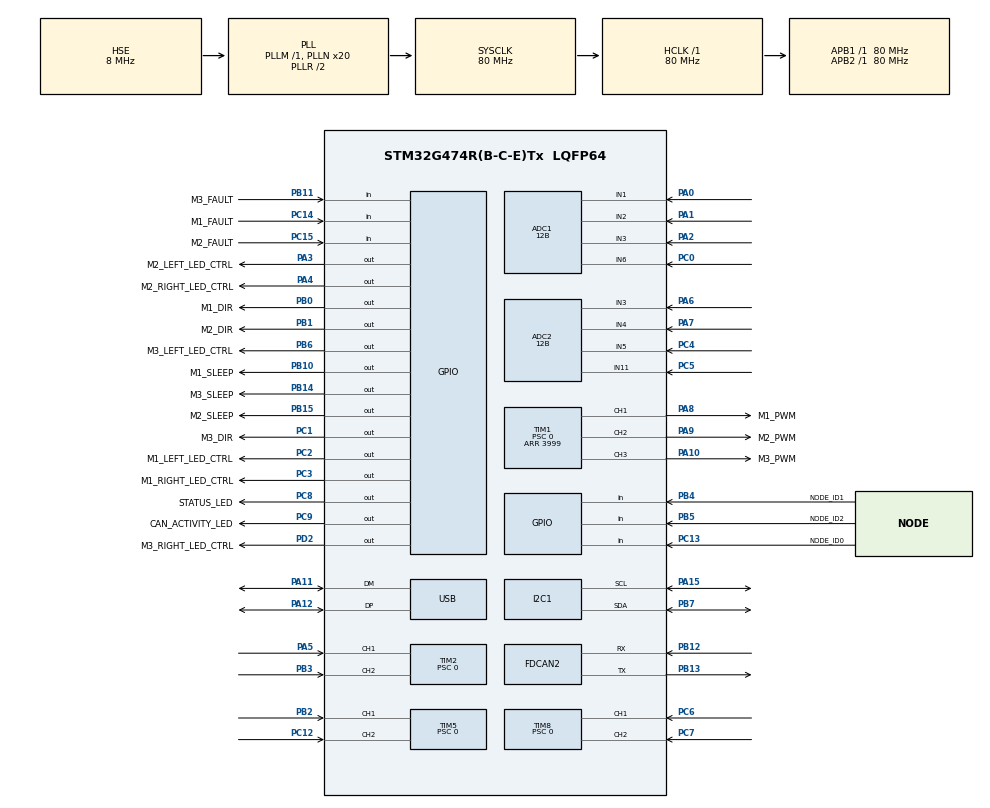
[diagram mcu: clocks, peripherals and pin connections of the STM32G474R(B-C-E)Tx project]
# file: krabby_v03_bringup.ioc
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ADC1.Channel-0\#ChannelRegularConversion=ADC_CHANNEL_1
ADC1.Channel-1\#ChannelRegularConversion=ADC_CHANNEL_2
ADC1.Channel-2\#ChannelRegularConversion=ADC_CHANNEL_3
ADC1.Channel-3\#ChannelRegularConversion=ADC_CHANNEL_6
ADC1.ClockPrescaler=ADC_CLOCK_SYNC_PCLK_DIV2
ADC1.ContinuousConvMode=DISABLE
ADC1.DataAlign=ADC_DATAALIGN_RIGHT
ADC1.ExternalTrigConv=ADC_SOFTWARE_START
ADC1.LowPowerAutoWait=ENABLE
ADC1.NbrOfConversion=4
ADC1.NbrOfConversionFlag=1
ADC1.Overrun=ADC_OVR_DATA_PRESERVED
ADC1.Rank-0\#ChannelRegularConversion=1
ADC1.Rank-1\#ChannelRegularConversion=2
ADC1.Rank-2\#ChannelRegularConversion=3
ADC1.Rank-3\#ChannelRegularConversion=4
ADC1.Resolution=ADC_RESOLUTION_12B
ADC1.SamplingTime-0\#ChannelRegularConversion=ADC_SAMPLETIME_92CYCLES_5
ADC1.SamplingTime-1\#ChannelRegularConversion=ADC_SAMPLETIME_92CYCLES_5
ADC1.SamplingTime-2\#ChannelRegularConversion=ADC_SAMPLETIME_92CYCLES_5
ADC1.SamplingTime-3\#ChannelRegularConversion=ADC_SAMPLETIME_92CYCLES_5
ADC1.ScanConvMode=ADC_SCAN_ENABLE
ADC1.master=1
ADC2.Channel-0\#ChannelRegularConversion=ADC_CHANNEL_3
ADC2.Channel-1\#ChannelRegularConversion=ADC_CHANNEL_4
ADC2.Channel-2\#ChannelRegularConversion=ADC_CHANNEL_5
ADC2.Channel-3\#ChannelRegularConversion=ADC_CHANNEL_11
ADC2.ClockPrescaler=ADC_CLOCK_SYNC_PCLK_DIV2
ADC2.ContinuousConvMode=DISABLE
ADC2.DataAlign=ADC_DATAALIGN_RIGHT
ADC2.ExternalTrigConv=ADC_SOFTWARE_START
ADC2.LowPowerAutoWait=ENABLE
ADC2.NbrOfConversion=4
ADC2.NbrOfConversionFlag=1
ADC2.Overrun=ADC_OVR_DATA_PRESERVED
ADC2.Rank-0\#ChannelRegularConversion=1
ADC2.Rank-1\#ChannelRegularConversion=2
ADC2.Rank-2\#ChannelRegularConversion=3
ADC2.Rank-3\#ChannelRegularConversion=4
ADC2.Resolution=ADC_RESOLUTION_12B
ADC2.SamplingTime-0\#ChannelRegularConversion=ADC_SAMPLETIME_92CYCLES_5
ADC2.SamplingTime-1\#ChannelRegularConversion=ADC_SAMPLETIME_92CYCLES_5
ADC2.SamplingTime-2\#ChannelRegularConversion=ADC_SAMPLETIME_92CYCLES_5
ADC2.SamplingTime-3\#ChannelRegularConversion=ADC_SAMPLETIME_92CYCLES_5
ADC2.ScanConvMode=ADC_SCAN_ENABLE
ADC2.master=1
FDCAN2.AutoRetransmission=ENABLE
FDCAN2.CalculateBaudRateNominal=1000000
FDCAN2.CalculateTimeBitNominal=1000
FDCAN2.CalculateTimeQuantumNominal=62.5
FDCAN2.DataPrescaler=1
FDCAN2.DataSyncJumpWidth=1
FDCAN2.DataTimeSeg1=13
FDCAN2.DataTimeSeg2=2
FDCAN2.ExtFiltersNbr=0
FDCAN2.FrameFormat=FDCAN_FRAME_FD_BRS
FDCAN2.Mode=FDCAN_MODE_NORMAL
FDCAN2.NominalPrescaler=5
FDCAN2.NominalSyncJumpWidth=1
FDCAN2.NominalTimeSeg1=13
FDCAN2.NominalTimeSeg2=2
FDCAN2.ProtocolException=DISABLE
FDCAN2.StdFiltersNbr=0
FDCAN2.TransmitPause=DISABLE
FDCAN2.TxFifoQueueMode=FDCAN_TX_FIFO_OPERATION
I2C1.GeneralCallMode=I2C_GENERALCALL_DISABLE
I2C1.I2C_FMPlus=I2C_FMPLUS_DISABLE
I2C1.NoStretchMode=I2C_NOSTRETCH_DISABLE
I2C1.Timing=0x10D19CE4
Mcu.Family=STM32G4
Mcu.Name=STM32G474R(B-C-E)Tx
Mcu.Package=LQFP64
NVIC.FDCAN2_IT0_IRQn=true\:0\:0\:false\:false\:true\:true\:true\:true
NVIC.PriorityGroup=NVIC_PRIORITYGROUP_4
NVIC.USB_LP_IRQn=true\:0\:0\:false\:false\:true\:false\:true\:true
PA0.Mode=IN1-Single-Ended
PA0.Signal=ADC1_IN1
PA1.Mode=IN2-Single-Ended
PA1.Signal=ADC1_IN2
PA10.GPIO_Label=M3_PWM
PA10.GPIO_PuPd=GPIO_PULLDOWN
PA10.GPIO_Speed=GPIO_SPEED_FREQ_LOW
PA10.Signal=S_TIM1_CH3
PA11.Mode=Device
PA11.Signal=USB_DM
PA12.Mode=Device
PA12.Signal=USB_DP
PA13.Mode=Serial_Wire
PA13.Signal=SYS_JTMS-SWDIO
PA14.Mode=Serial_Wire
PA14.Signal=SYS_JTCK-SWCLK
PA15.Mode=I2C
PA15.Signal=I2C1_SCL
PA2.Mode=IN3-Single-Ended
PA2.Signal=ADC1_IN3
PA3.GPIO_Label=M2_LEFT_LED_CTRL
PA3.GPIO_ModeDefaultOutputPP=GPIO_MODE_OUTPUT_PP
PA3.GPIO_OutputLevel=GPIO_PIN_RESET
PA3.GPIO_PuPd=GPIO_NOPULL
PA3.GPIO_Speed=GPIO_SPEED_FREQ_LOW
PA3.Signal=GPIO_Output
PA4.GPIO_Label=M2_RIGHT_LED_CTRL
PA4.GPIO_ModeDefaultOutputPP=GPIO_MODE_OUTPUT_PP
PA4.GPIO_OutputLevel=GPIO_PIN_RESET
PA4.GPIO_PuPd=GPIO_NOPULL
PA4.GPIO_Speed=GPIO_SPEED_FREQ_LOW
PA4.Signal=GPIO_Output
PA5.Signal=S_TIM2_CH1
PA6.Mode=IN3-Single-Ended
PA6.Signal=ADC2_IN3
PA7.Mode=IN4-Single-Ended
PA7.Signal=ADC2_IN4
PA8.GPIO_Label=M1_PWM
PA8.GPIO_PuPd=GPIO_PULLDOWN
PA8.GPIO_Speed=GPIO_SPEED_FREQ_LOW
PA8.Signal=S_TIM1_CH1
PA9.GPIO_Label=M2_PWM
PA9.GPIO_PuPd=GPIO_PULLDOWN
PA9.GPIO_Speed=GPIO_SPEED_FREQ_LOW
PA9.Signal=S_TIM1_CH2
PB0.GPIO_Label=M1_DIR
PB0.GPIO_ModeDefaultOutputPP=GPIO_MODE_OUTPUT_PP
PB0.GPIO_OutputLevel=GPIO_PIN_RESET
PB0.GPIO_PuPd=GPIO_NOPULL
PB0.GPIO_Speed=GPIO_SPEED_FREQ_LOW
PB0.Signal=GPIO_Output
PB1.GPIO_Label=M2_DIR
PB1.GPIO_ModeDefaultOutputPP=GPIO_MODE_OUTPUT_PP
PB1.GPIO_OutputLevel=GPIO_PIN_RESET
PB1.GPIO_PuPd=GPIO_NOPULL
PB1.GPIO_Speed=GPIO_SPEED_FREQ_LOW
PB1.Signal=GPIO_Output
PB10.GPIO_Label=M1_SLEEP
PB10.GPIO_ModeDefaultOutputPP=GPIO_MODE_OUTPUT_PP
PB10.GPIO_OutputLevel=GPIO_PIN_RESET
PB10.GPIO_PuPd=GPIO_NOPULL
PB10.GPIO_Speed=GPIO_SPEED_FREQ_LOW
PB10.Signal=GPIO_Output
PB11.GPIO_Label=M3_FAULT
PB11.GPIO_PuPd=GPIO_NOPULL
PB11.Signal=GPIO_Input
PB12.Mode=FDCAN_Activate
PB12.Signal=FDCAN2_RX
PB13.Mode=FDCAN_Activate
PB13.Signal=FDCAN2_TX
PB14.GPIO_Label=M3_SLEEP
PB14.GPIO_ModeDefaultOutputPP=GPIO_MODE_OUTPUT_PP
PB14.GPIO_OutputLevel=GPIO_PIN_RESET
PB14.GPIO_PuPd=GPIO_NOPULL
PB14.GPIO_Speed=GPIO_SPEED_FREQ_LOW
PB14.Signal=GPIO_Output
PB15.GPIO_Label=M2_SLEEP
PB15.GPIO_ModeDefaultOutputPP=GPIO_MODE_OUTPUT_PP
PB15.GPIO_OutputLevel=GPIO_PIN_RESET
PB15.GPIO_PuPd=GPIO_NOPULL
PB15.GPIO_Speed=GPIO_SPEED_FREQ_LOW
PB15.Signal=GPIO_Output
PB2.Signal=S_TIM5_CH1
PB3.Signal=S_TIM2_CH2
PB4.GPIO_Label=NODE_ID1
PB4.GPIO_PuPd=GPIO_NOPULL
PB4.Signal=GPIO_Input
PB5.GPIO_Label=NODE_ID2
PB5.GPIO_PuPd=GPIO_NOPULL
PB5.Signal=GPIO_Input
PB6.GPIO_Label=M3_LEFT_LED_CTRL
PB6.GPIO_ModeDefaultOutputPP=GPIO_MODE_OUTPUT_PP
PB6.GPIO_OutputLevel=GPIO_PIN_RESET
PB6.GPIO_PuPd=GPIO_NOPULL
PB6.GPIO_Speed=GPIO_SPEED_FREQ_LOW
PB6.Signal=GPIO_Output
PB7.Mode=I2C
PB7.Signal=I2C1_SDA
PC0.Mode=IN6-Single-Ended
PC0.Signal=ADC1_IN6
PC1.GPIO_Label=M3_DIR
PC1.GPIO_ModeDefaultOutputPP=GPIO_MODE_OUTPUT_PP
PC1.GPIO_OutputLevel=GPIO_PIN_RESET
PC1.GPIO_PuPd=GPIO_NOPULL
PC1.GPIO_Speed=GPIO_SPEED_FREQ_LOW
PC1.Signal=GPIO_Output
PC12.Signal=S_TIM5_CH2
PC13.GPIO_Label=NODE_ID0
PC13.GPIO_PuPd=GPIO_NOPULL
PC13.Signal=GPIO_Input
PC14-OSC32_IN.GPIO_Label=M1_FAULT
PC14-OSC32_IN.GPIO_PuPd=GPIO_NOPULL
PC14-OSC32_IN.Signal=GPIO_Input
PC15-OSC32_OUT.GPIO_Label=M2_FAULT
PC15-OSC32_OUT.GPIO_PuPd=GPIO_NOPULL
PC15-OSC32_OUT.Signal=GPIO_Input
PC2.GPIO_Label=M1_LEFT_LED_CTRL
PC2.GPIO_ModeDefaultOutputPP=GPIO_MODE_OUTPUT_PP
PC2.GPIO_OutputLevel=GPIO_PIN_RESET
PC2.GPIO_PuPd=GPIO_NOPULL
PC2.GPIO_Speed=GPIO_SPEED_FREQ_LOW
PC2.Signal=GPIO_Output
PC3.GPIO_Label=M1_RIGHT_LED_CTRL
PC3.GPIO_ModeDefaultOutputPP=GPIO_MODE_OUTPUT_PP
PC3.GPIO_OutputLevel=GPIO_PIN_RESET
PC3.GPIO_PuPd=GPIO_NOPULL
PC3.GPIO_Speed=GPIO_SPEED_FREQ_LOW
PC3.Signal=GPIO_Output
PC4.Mode=IN5-Single-Ended
PC4.Signal=ADC2_IN5
PC5.Mode=IN11-Single-Ended
PC5.Signal=ADC2_IN11
PC6.Signal=S_TIM8_CH1
PC7.Signal=S_TIM8_CH2
PC8.GPIO_Label=STATUS_LED
PC8.GPIO_ModeDefaultOutputPP=GPIO_MODE_OUTPUT_PP
PC8.GPIO_OutputLevel=GPIO_PIN_RESET
PC8.GPIO_PuPd=GPIO_NOPULL
PC8.GPIO_Speed=GPIO_SPEED_FREQ_LOW
PC8.Signal=GPIO_Output
PC9.GPIO_Label=CAN_ACTIVITY_LED
PC9.GPIO_ModeDefaultOutputPP=GPIO_MODE_OUTPUT_PP
PC9.GPIO_OutputLevel=GPIO_PIN_RESET
PC9.GPIO_PuPd=GPIO_NOPULL
PC9.GPIO_Speed=GPIO_SPEED_FREQ_LOW
PC9.Signal=GPIO_Output
PD2.GPIO_Label=M3_RIGHT_LED_CTRL
PD2.GPIO_ModeDefaultOutputPP=GPIO_MODE_OUTPUT_PP
PD2.GPIO_OutputLevel=GPIO_PIN_RESET
PD2.GPIO_PuPd=GPIO_NOPULL
PD2.GPIO_Speed=GPIO_SPEED_FREQ_LOW
PD2.Signal=GPIO_Output
ProjectManager.HeapSize=0x200
ProjectManager.StackSize=0x800
ProjectManager.TargetToolchain=CMake
RCC.ADC12Freq_Value=80000000
RCC.ADC345Freq_Value=80000000
RCC.AHBFreq_Value=80000000
RCC.APB1Freq_Value=80000000
RCC.APB1TimFreq_Value=80000000
RCC.APB2Freq_Value=80000000
RCC.APB2TimFreq_Value=80000000
RCC.CK48CLockSelection=RCC_USBCLKSOURCE_HSI48
RCC.CortexFreq_Value=80000000
RCC.EXTERNAL_CLOCK_VALUE=12288000
RCC.FDCANClockSelection=RCC_FDCANCLKSOURCE_PCLK1
RCC.HCLKFreq_Value=80000000
RCC.HSEState=RCC_HSE_ON
RCC.HSE_VALUE=8000000
RCC.HSI48_VALUE=48000000
RCC.HSI_VALUE=16000000
RCC.LSE_VALUE=32768
RCC.PLLN=20
RCC.PLLR=RCC_PLLR_DIV2
RCC.PLLSourceVirtual=RCC_PLLSOURCE_HSE
RCC.SYSCLKFreq_VALUE=80000000
RCC.SYSCLKSource=RCC_SYSCLKSOURCE_PLLCLK
RCC.USBClockSelection=RCC_USBCLKSOURCE_HSI48
RCC.USBFreq_Value=48000000
RCC.VCOOutputFreq_Value=160000000
SH.S_TIM1_CH1.0=TIM1_CH1,PWM Generation1 CH1
SH.S_TIM1_CH2.0=TIM1_CH2,PWM Generation2 CH2
SH.S_TIM1_CH3.0=TIM1_CH3,PWM Generation3 CH3
SH.S_TIM2_CH1.0=TIM2_CH1,Encoder_Interface
SH.S_TIM2_CH2.0=TIM2_CH2,Encoder_Interface
SH.S_TIM5_CH1.0=TIM5_CH1,Encoder_Interface
SH.S_TIM5_CH2.0=TIM5_CH2,Encoder_Interface
SH.S_TIM8_CH1.0=TIM8_CH1,Encoder_Interface
SH.S_TIM8_CH2.0=TIM8_CH2,Encoder_Interface
TIM1.AutoReloadPreload=TIM_AUTORELOAD_PRELOAD_DISABLE
TIM1.AutomaticOutput=TIM_AUTOMATICOUTPUT_DISABLE
TIM1.Channel-PWM\ Generation1\ CH1=TIM_CHANNEL_1
TIM1.Channel-PWM\ Generation2\ CH2=TIM_CHANNEL_2
TIM1.Channel-PWM\ Generation3\ CH3=TIM_CHANNEL_3
TIM1.CounterMode=TIM_COUNTERMODE_UP
TIM1.OCIdleState_1=TIM_OCIDLESTATE_RESET
TIM1.OCIdleState_2=TIM_OCIDLESTATE_RESET
TIM1.OCIdleState_3=TIM_OCIDLESTATE_RESET
TIM1.OCMode_1=TIM_OCMODE_PWM1
TIM1.OCMode_2=TIM_OCMODE_PWM1
TIM1.OCMode_3=TIM_OCMODE_PWM1
TIM1.OCPolarity_1=TIM_OCPOLARITY_HIGH
TIM1.OCPolarity_2=TIM_OCPOLARITY_HIGH
TIM1.OCPolarity_3=TIM_OCPOLARITY_HIGH
TIM1.Period=3999
TIM1.Prescaler=0
TIM1.Pulse_1=0
TIM1.Pulse_2=0
TIM1.Pulse_3=0
TIM1.RepetitionCounter=0
TIM2.CounterMode=TIM_COUNTERMODE_UP
TIM2.EncoderMode=TIM_ENCODERMODE_TI12
TIM2.IC1Filter=0
TIM2.IC1Polarity=TIM_ICPOLARITY_RISING
TIM2.IC1Prescaler=TIM_ICPSC_DIV1
TIM2.IC1Selection=TIM_ICSELECTION_DIRECTTI
TIM2.IC2Filter=0
TIM2.IC2Polarity=TIM_ICPOLARITY_RISING
TIM2.IC2Prescaler=TIM_ICPSC_DIV1
TIM2.IC2Selection=TIM_ICSELECTION_DIRECTTI
TIM2.Period=65535
TIM2.Prescaler=0
TIM5.CounterMode=TIM_COUNTERMODE_UP
TIM5.EncoderMode=TIM_ENCODERMODE_TI12
TIM5.IC1Filter=0
TIM5.IC1Polarity=TIM_ICPOLARITY_RISING
TIM5.IC1Prescaler=TIM_ICPSC_DIV1
TIM5.IC1Selection=TIM_ICSELECTION_DIRECTTI
TIM5.IC2Filter=0
TIM5.IC2Polarity=TIM_ICPOLARITY_RISING
TIM5.IC2Prescaler=TIM_ICPSC_DIV1
TIM5.IC2Selection=TIM_ICSELECTION_DIRECTTI
TIM5.Period=65535
TIM5.Prescaler=0
TIM8.CounterMode=TIM_COUNTERMODE_UP
TIM8.EncoderMode=TIM_ENCODERMODE_TI12
TIM8.IC1Filter=0
TIM8.IC1Polarity=TIM_ICPOLARITY_RISING
TIM8.IC1Prescaler=TIM_ICPSC_DIV1
TIM8.IC1Selection=TIM_ICSELECTION_DIRECTTI
TIM8.IC2Filter=0
TIM8.IC2Polarity=TIM_ICPOLARITY_RISING
TIM8.IC2Prescaler=TIM_ICPSC_DIV1
TIM8.IC2Selection=TIM_ICSELECTION_DIRECTTI
TIM8.Period=65535
TIM8.Prescaler=0
USB.VirtualMode=Device_Only
USB_DEVICE.CLASS_NAME_FS=CDC
USB_DEVICE.VirtualMode=Cdc
USB_DEVICE.VirtualModeFS=Cdc_FS
VP_SYS_VS_DBSignals.Mode=DisableDeadBatterySignals
VP_TIM1_VS_ClockSourceINT.Mode=Internal
VP_USB_DEVICE_VS_USB_DEVICE_CDC_FS.Mode=CDC_FS
board=custom

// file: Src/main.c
/* USER CODE BEGIN Header */
/**
  ******************************************************************************
  * @file           : main.c
  * @brief          : Main program body
  ******************************************************************************
  * @attention
  *
  * Copyright (c) 2026 STMicroelectronics.
  * All rights reserved.
  *
  * This software is licensed under terms that can be found in the LICENSE file
  * in the root directory of this software component.
  * If no LICENSE file comes with this software, it is provided AS-IS.
  *
  ******************************************************************************
  */
/* USER CODE END Header */
#include "main.h"
#include "usb_device.h"

/* USER CODE BEGIN Includes */
#include "usbd_cdc_if.h"
#include <stdio.h>
#include "board.h"
#include "can_bridge.h"
#include "app_boot.h"
#include "app_service.h"
/* USER CODE END Includes */

ADC_HandleTypeDef hadc1;
ADC_HandleTypeDef hadc2;

FDCAN_HandleTypeDef hfdcan2;

I2C_HandleTypeDef hi2c1;

TIM_HandleTypeDef htim1;
TIM_HandleTypeDef htim2;
TIM_HandleTypeDef htim5;
TIM_HandleTypeDef htim8;

void SystemClock_Config(void);
static void MX_GPIO_Init(void);
static void MX_ADC1_Init(void);
static void MX_ADC2_Init(void);
static void MX_I2C1_Init(void);
static void MX_TIM1_Init(void);
static void MX_TIM2_Init(void);
static void MX_TIM5_Init(void);
static void MX_TIM8_Init(void);
static void MX_FDCAN2_Init(void);

int main(void)
{

  /* USER CODE BEGIN 1 */
  SCB->VTOR = KRABBY_APPLICATION_BASE;
#ifndef LOAD_ME_FIRST
  uint32_t led_tick = 0;
#endif

  /* USER CODE END 1 */

  /* MCU Configuration--------------------------------------------------------*/

  /* Reset of all peripherals, Initializes the Flash interface and the Systick. */
  HAL_Init();

  /* Configure the system clock */
  SystemClock_Config();

  /* Initialize all configured peripherals */
  MX_GPIO_Init();
  MX_ADC1_Init();
  MX_ADC2_Init();
  MX_I2C1_Init();
  MX_TIM1_Init();
  MX_TIM2_Init();
  MX_TIM5_Init();
  MX_TIM8_Init();
  MX_FDCAN2_Init();
  MX_USB_Device_Init();
  /* USER CODE BEGIN 2 */
  App_Init();
  CAN_BridgeInit();

  /* USER CODE END 2 */

  /* Infinite loop */
  while (1)
  {

    /* USER CODE BEGIN 3 */

    App_Poll();
    CDC_AppPoll();
#ifndef LOAD_ME_FIRST
    if (!CDC_LED_IsControlled() && (uint32_t)(HAL_GetTick() - led_tick) >= APP_BLINK_MS)
    {
      led_tick = HAL_GetTick();
      Board_LED_Toggle(APP_LED);
    }
#endif

  }
  /* USER CODE END 3 */
}

void SystemClock_Config(void)
{
  RCC_OscInitTypeDef RCC_OscInitStruct = {0};
  RCC_ClkInitTypeDef RCC_ClkInitStruct = {0};

  /** Configure the main internal regulator output voltage
  */
  HAL_PWREx_ControlVoltageScaling(PWR_REGULATOR_VOLTAGE_SCALE1);

  /** Initializes the RCC Oscillators according to the specified parameters
  * in the RCC_OscInitTypeDef structure.
  */
  RCC_OscInitStruct.OscillatorType = RCC_OSCILLATORTYPE_HSI48|RCC_OSCILLATORTYPE_HSE;
  RCC_OscInitStruct.HSEState = RCC_HSE_ON;
  RCC_OscInitStruct.HSI48State = RCC_HSI48_ON;
  RCC_OscInitStruct.PLL.PLLState = RCC_PLL_ON;
  RCC_OscInitStruct.PLL.PLLSource = RCC_PLLSOURCE_HSE;
  RCC_OscInitStruct.PLL.PLLM = RCC_PLLM_DIV1;
  RCC_OscInitStruct.PLL.PLLN = 20;
  RCC_OscInitStruct.PLL.PLLP = RCC_PLLP_DIV2;
  RCC_OscInitStruct.PLL.PLLQ = RCC_PLLQ_DIV2;
  RCC_OscInitStruct.PLL.PLLR = RCC_PLLR_DIV2;
  if (HAL_RCC_OscConfig(&RCC_OscInitStruct) != HAL_OK)
  {
    Error_Handler();
  }

  /** Initializes the CPU, AHB and APB buses clocks
  */
  RCC_ClkInitStruct.ClockType = RCC_CLOCKTYPE_HCLK|RCC_CLOCKTYPE_SYSCLK
                              |RCC_CLOCKTYPE_PCLK1|RCC_CLOCKTYPE_PCLK2;
  RCC_ClkInitStruct.SYSCLKSource = RCC_SYSCLKSOURCE_PLLCLK;
  RCC_ClkInitStruct.AHBCLKDivider = RCC_SYSCLK_DIV1;
  RCC_ClkInitStruct.APB1CLKDivider = RCC_HCLK_DIV1;
  RCC_ClkInitStruct.APB2CLKDivider = RCC_HCLK_DIV1;

  if (HAL_RCC_ClockConfig(&RCC_ClkInitStruct, FLASH_LATENCY_2) != HAL_OK)
  {
    Error_Handler();
  }
}

static void MX_ADC1_Init(void)
{

  ADC_MultiModeTypeDef multimode = {0};
  ADC_ChannelConfTypeDef sConfig = {0};

  /** Common config
  */
  hadc1.Instance = ADC1;
  hadc1.Init.ClockPrescaler = ADC_CLOCK_SYNC_PCLK_DIV2;
  hadc1.Init.Resolution = ADC_RESOLUTION_12B;
  hadc1.Init.DataAlign = ADC_DATAALIGN_RIGHT;
  hadc1.Init.GainCompensation = 0;
  hadc1.Init.ScanConvMode = ADC_SCAN_ENABLE;
  hadc1.Init.EOCSelection = ADC_EOC_SINGLE_CONV;
  hadc1.Init.LowPowerAutoWait = ENABLE;
  hadc1.Init.ContinuousConvMode = DISABLE;
  hadc1.Init.NbrOfConversion = 4;
  hadc1.Init.DiscontinuousConvMode = DISABLE;
  hadc1.Init.ExternalTrigConv = ADC_SOFTWARE_START;
  hadc1.Init.ExternalTrigConvEdge = ADC_EXTERNALTRIGCONVEDGE_NONE;
  hadc1.Init.DMAContinuousRequests = DISABLE;
  hadc1.Init.Overrun = ADC_OVR_DATA_PRESERVED;
  hadc1.Init.OversamplingMode = DISABLE;
  if (HAL_ADC_Init(&hadc1) != HAL_OK)
  {
    Error_Handler();
  }

  /** Configure the ADC multi-mode
  */
  multimode.Mode = ADC_MODE_INDEPENDENT;
  if (HAL_ADCEx_MultiModeConfigChannel(&hadc1, &multimode) != HAL_OK)
  {
    Error_Handler();
  }

  /** Configure Regular Channel
  */
  sConfig.Channel = ADC_CHANNEL_1;
  sConfig.Rank = ADC_REGULAR_RANK_1;
  sConfig.SamplingTime = ADC_SAMPLETIME_92CYCLES_5;
  sConfig.SingleDiff = ADC_SINGLE_ENDED;
  sConfig.OffsetNumber = ADC_OFFSET_NONE;
  sConfig.Offset = 0;
  if (HAL_ADC_ConfigChannel(&hadc1, &sConfig) != HAL_OK)
  {
    Error_Handler();
  }

  /** Configure Regular Channel
  */
  sConfig.Channel = ADC_CHANNEL_2;
  sConfig.Rank = ADC_REGULAR_RANK_2;
  if (HAL_ADC_ConfigChannel(&hadc1, &sConfig) != HAL_OK)
  {
    Error_Handler();
  }

  /** Configure Regular Channel
  */
  sConfig.Channel = ADC_CHANNEL_3;
  sConfig.Rank = ADC_REGULAR_RANK_3;
  if (HAL_ADC_ConfigChannel(&hadc1, &sConfig) != HAL_OK)
  {
    Error_Handler();
  }

  /** Configure Regular Channel
  */
  sConfig.Channel = ADC_CHANNEL_6;
  sConfig.Rank = ADC_REGULAR_RANK_4;
  if (HAL_ADC_ConfigChannel(&hadc1, &sConfig) != HAL_OK)
  {
    Error_Handler();
  }

}

static void MX_ADC2_Init(void)
{

  ADC_ChannelConfTypeDef sConfig = {0};

  /** Common config
  */
  hadc2.Instance = ADC2;
  hadc2.Init.ClockPrescaler = ADC_CLOCK_SYNC_PCLK_DIV2;
  hadc2.Init.Resolution = ADC_RESOLUTION_12B;
  hadc2.Init.DataAlign = ADC_DATAALIGN_RIGHT;
  hadc2.Init.GainCompensation = 0;
  hadc2.Init.ScanConvMode = ADC_SCAN_ENABLE;
  hadc2.Init.EOCSelection = ADC_EOC_SINGLE_CONV;
  hadc2.Init.LowPowerAutoWait = ENABLE;
  hadc2.Init.ContinuousConvMode = DISABLE;
  hadc2.Init.NbrOfConversion = 4;
  hadc2.Init.DiscontinuousConvMode = DISABLE;
  hadc2.Init.ExternalTrigConv = ADC_SOFTWARE_START;
  hadc2.Init.ExternalTrigConvEdge = ADC_EXTERNALTRIGCONVEDGE_NONE;
  hadc2.Init.DMAContinuousRequests = DISABLE;
  hadc2.Init.Overrun = ADC_OVR_DATA_PRESERVED;
  hadc2.Init.OversamplingMode = DISABLE;
  if (HAL_ADC_Init(&hadc2) != HAL_OK)
  {
    Error_Handler();
  }

  /** Configure Regular Channel
  */
  sConfig.Channel = ADC_CHANNEL_3;
  sConfig.Rank = ADC_REGULAR_RANK_1;
  sConfig.SamplingTime = ADC_SAMPLETIME_92CYCLES_5;
  sConfig.SingleDiff = ADC_SINGLE_ENDED;
  sConfig.OffsetNumber = ADC_OFFSET_NONE;
  sConfig.Offset = 0;
  if (HAL_ADC_ConfigChannel(&hadc2, &sConfig) != HAL_OK)
  {
    Error_Handler();
  }

  /** Configure Regular Channel
  */
  sConfig.Channel = ADC_CHANNEL_4;
  sConfig.Rank = ADC_REGULAR_RANK_2;
  if (HAL_ADC_ConfigChannel(&hadc2, &sConfig) != HAL_OK)
  {
    Error_Handler();
  }

  /** Configure Regular Channel
  */
  sConfig.Channel = ADC_CHANNEL_5;
  sConfig.Rank = ADC_REGULAR_RANK_3;
  if (HAL_ADC_ConfigChannel(&hadc2, &sConfig) != HAL_OK)
  {
    Error_Handler();
  }

  /** Configure Regular Channel
  */
  sConfig.Channel = ADC_CHANNEL_11;
  sConfig.Rank = ADC_REGULAR_RANK_4;
  if (HAL_ADC_ConfigChannel(&hadc2, &sConfig) != HAL_OK)
  {
    Error_Handler();
  }

}

static void MX_FDCAN2_Init(void)
{

  hfdcan2.Instance = FDCAN2;
  hfdcan2.Init.ClockDivider = FDCAN_CLOCK_DIV1;
  hfdcan2.Init.FrameFormat = FDCAN_FRAME_FD_BRS;
  hfdcan2.Init.Mode = FDCAN_MODE_NORMAL;
  hfdcan2.Init.AutoRetransmission = ENABLE;
  hfdcan2.Init.TransmitPause = DISABLE;
  hfdcan2.Init.ProtocolException = DISABLE;
  hfdcan2.Init.NominalPrescaler = 5;
  hfdcan2.Init.NominalSyncJumpWidth = 1;
  hfdcan2.Init.NominalTimeSeg1 = 13;
  hfdcan2.Init.NominalTimeSeg2 = 2;
  hfdcan2.Init.DataPrescaler = 1;
  hfdcan2.Init.DataSyncJumpWidth = 1;
  hfdcan2.Init.DataTimeSeg1 = 13;
  hfdcan2.Init.DataTimeSeg2 = 2;
  hfdcan2.Init.StdFiltersNbr = 0;
  hfdcan2.Init.ExtFiltersNbr = 0;
  hfdcan2.Init.TxFifoQueueMode = FDCAN_TX_FIFO_OPERATION;
  if (HAL_FDCAN_Init(&hfdcan2) != HAL_OK)
  {
    Error_Handler();
  }
  /* USER CODE BEGIN FDCAN2_Init 2 */
  /* PCLK1 = 80 MHz. Nominal: 80M/5/16 = 1M; data: 80M/1/16 = 5M.
     Both sample points are 87.5%. Configuration is generated from the IOC. */

  /* USER CODE END FDCAN2_Init 2 */

}

static void MX_I2C1_Init(void)
{

  hi2c1.Instance = I2C1;
  hi2c1.Init.Timing = 0x10D19CE4;
  hi2c1.Init.OwnAddress1 = 0;
  hi2c1.Init.AddressingMode = I2C_ADDRESSINGMODE_7BIT;
  hi2c1.Init.DualAddressMode = I2C_DUALADDRESS_DISABLE;
  hi2c1.Init.OwnAddress2 = 0;
  hi2c1.Init.OwnAddress2Masks = I2C_OA2_NOMASK;
  hi2c1.Init.GeneralCallMode = I2C_GENERALCALL_DISABLE;
  hi2c1.Init.NoStretchMode = I2C_NOSTRETCH_DISABLE;
  if (HAL_I2C_Init(&hi2c1) != HAL_OK)
  {
    Error_Handler();
  }

  /** Configure Analogue filter
  */
  if (HAL_I2CEx_ConfigAnalogFilter(&hi2c1, I2C_ANALOGFILTER_ENABLE) != HAL_OK)
  {
    Error_Handler();
  }

  /** Configure Digital filter
  */
  if (HAL_I2CEx_ConfigDigitalFilter(&hi2c1, 0) != HAL_OK)
  {
    Error_Handler();
  }

}

static void MX_TIM1_Init(void)
{

  TIM_ClockConfigTypeDef sClockSourceConfig = {0};
  TIM_MasterConfigTypeDef sMasterConfig = {0};
  TIM_OC_InitTypeDef sConfigOC = {0};
  TIM_BreakDeadTimeConfigTypeDef sBreakDeadTimeConfig = {0};

  htim1.Instance = TIM1;
  htim1.Init.Prescaler = 0;
  htim1.Init.CounterMode = TIM_COUNTERMODE_UP;
  htim1.Init.Period = 3999;
  htim1.Init.ClockDivision = TIM_CLOCKDIVISION_DIV1;
  htim1.Init.RepetitionCounter = 0;
  htim1.Init.AutoReloadPreload = TIM_AUTORELOAD_PRELOAD_DISABLE;
  if (HAL_TIM_Base_Init(&htim1) != HAL_OK)
  {
    Error_Handler();
  }
  sClockSourceConfig.ClockSource = TIM_CLOCKSOURCE_INTERNAL;
  if (HAL_TIM_ConfigClockSource(&htim1, &sClockSourceConfig) != HAL_OK)
  {
    Error_Handler();
  }
  if (HAL_TIM_PWM_Init(&htim1) != HAL_OK)
  {
    Error_Handler();
  }
  sMasterConfig.MasterOutputTrigger = TIM_TRGO_RESET;
  sMasterConfig.MasterOutputTrigger2 = TIM_TRGO2_RESET;
  sMasterConfig.MasterSlaveMode = TIM_MASTERSLAVEMODE_DISABLE;
  if (HAL_TIMEx_MasterConfigSynchronization(&htim1, &sMasterConfig) != HAL_OK)
  {
    Error_Handler();
  }
  sConfigOC.OCMode = TIM_OCMODE_PWM1;
  sConfigOC.Pulse = 0;
  sConfigOC.OCPolarity = TIM_OCPOLARITY_HIGH;
  sConfigOC.OCNPolarity = TIM_OCNPOLARITY_HIGH;
  sConfigOC.OCFastMode = TIM_OCFAST_DISABLE;
  sConfigOC.OCIdleState = TIM_OCIDLESTATE_RESET;
  sConfigOC.OCNIdleState = TIM_OCNIDLESTATE_RESET;
  if (HAL_TIM_PWM_ConfigChannel(&htim1, &sConfigOC, TIM_CHANNEL_1) != HAL_OK)
  {
    Error_Handler();
  }
  if (HAL_TIM_PWM_ConfigChannel(&htim1, &sConfigOC, TIM_CHANNEL_2) != HAL_OK)
  {
    Error_Handler();
  }
  if (HAL_TIM_PWM_ConfigChannel(&htim1, &sConfigOC, TIM_CHANNEL_3) != HAL_OK)
  {
    Error_Handler();
  }
  sBreakDeadTimeConfig.OffStateRunMode = TIM_OSSR_DISABLE;
  sBreakDeadTimeConfig.OffStateIDLEMode = TIM_OSSI_DISABLE;
  sBreakDeadTimeConfig.LockLevel = TIM_LOCKLEVEL_OFF;
  sBreakDeadTimeConfig.DeadTime = 0;
  sBreakDeadTimeConfig.BreakState = TIM_BREAK_DISABLE;
  sBreakDeadTimeConfig.BreakPolarity = TIM_BREAKPOLARITY_HIGH;
  sBreakDeadTimeConfig.BreakFilter = 0;
  sBreakDeadTimeConfig.BreakAFMode = TIM_BREAK_AFMODE_INPUT;
  sBreakDeadTimeConfig.Break2State = TIM_BREAK2_DISABLE;
  sBreakDeadTimeConfig.Break2Polarity = TIM_BREAK2POLARITY_HIGH;
  sBreakDeadTimeConfig.Break2Filter = 0;
  sBreakDeadTimeConfig.Break2AFMode = TIM_BREAK_AFMODE_INPUT;
  sBreakDeadTimeConfig.AutomaticOutput = TIM_AUTOMATICOUTPUT_DISABLE;
  if (HAL_TIMEx_ConfigBreakDeadTime(&htim1, &sBreakDeadTimeConfig) != HAL_OK)
  {
    Error_Handler();
  }
  HAL_TIM_MspPostInit(&htim1);

}

static void MX_TIM2_Init(void)
{

  TIM_Encoder_InitTypeDef sConfig = {0};
  TIM_MasterConfigTypeDef sMasterConfig = {0};

  htim2.Instance = TIM2;
  htim2.Init.Prescaler = 0;
  htim2.Init.CounterMode = TIM_COUNTERMODE_UP;
  htim2.Init.Period = 65535;
  htim2.Init.ClockDivision = TIM_CLOCKDIVISION_DIV1;
  htim2.Init.AutoReloadPreload = TIM_AUTORELOAD_PRELOAD_DISABLE;
  sConfig.EncoderMode = TIM_ENCODERMODE_TI12;
  sConfig.IC1Polarity = TIM_ICPOLARITY_RISING;
  sConfig.IC1Selection = TIM_ICSELECTION_DIRECTTI;
  sConfig.IC1Prescaler = TIM_ICPSC_DIV1;
  sConfig.IC1Filter = 0;
  sConfig.IC2Polarity = TIM_ICPOLARITY_RISING;
  sConfig.IC2Selection = TIM_ICSELECTION_DIRECTTI;
  sConfig.IC2Prescaler = TIM_ICPSC_DIV1;
  sConfig.IC2Filter = 0;
  if (HAL_TIM_Encoder_Init(&htim2, &sConfig) != HAL_OK)
  {
    Error_Handler();
  }
  sMasterConfig.MasterOutputTrigger = TIM_TRGO_RESET;
  sMasterConfig.MasterSlaveMode = TIM_MASTERSLAVEMODE_DISABLE;
  if (HAL_TIMEx_MasterConfigSynchronization(&htim2, &sMasterConfig) != HAL_OK)
  {
    Error_Handler();
  }

}

static void MX_TIM5_Init(void)
{

  TIM_Encoder_InitTypeDef sConfig = {0};
  TIM_MasterConfigTypeDef sMasterConfig = {0};

  htim5.Instance = TIM5;
  htim5.Init.Prescaler = 0;
  htim5.Init.CounterMode = TIM_COUNTERMODE_UP;
  htim5.Init.Period = 65535;
  htim5.Init.ClockDivision = TIM_CLOCKDIVISION_DIV1;
  htim5.Init.AutoReloadPreload = TIM_AUTORELOAD_PRELOAD_DISABLE;
  sConfig.EncoderMode = TIM_ENCODERMODE_TI12;
  sConfig.IC1Polarity = TIM_ICPOLARITY_RISING;
  sConfig.IC1Selection = TIM_ICSELECTION_DIRECTTI;
  sConfig.IC1Prescaler = TIM_ICPSC_DIV1;
  sConfig.IC1Filter = 0;
  sConfig.IC2Polarity = TIM_ICPOLARITY_RISING;
  sConfig.IC2Selection = TIM_ICSELECTION_DIRECTTI;
  sConfig.IC2Prescaler = TIM_ICPSC_DIV1;
  sConfig.IC2Filter = 0;
  if (HAL_TIM_Encoder_Init(&htim5, &sConfig) != HAL_OK)
  {
    Error_Handler();
  }
  sMasterConfig.MasterOutputTrigger = TIM_TRGO_RESET;
  sMasterConfig.MasterSlaveMode = TIM_MASTERSLAVEMODE_DISABLE;
  if (HAL_TIMEx_MasterConfigSynchronization(&htim5, &sMasterConfig) != HAL_OK)
  {
    Error_Handler();
  }

}

static void MX_TIM8_Init(void)
{

  TIM_Encoder_InitTypeDef sConfig = {0};
  TIM_MasterConfigTypeDef sMasterConfig = {0};

  htim8.Instance = TIM8;
  htim8.Init.Prescaler = 0;
  htim8.Init.CounterMode = TIM_COUNTERMODE_UP;
  htim8.Init.Period = 65535;
  htim8.Init.ClockDivision = TIM_CLOCKDIVISION_DIV1;
  htim8.Init.RepetitionCounter = 0;
  htim8.Init.AutoReloadPreload = TIM_AUTORELOAD_PRELOAD_DISABLE;
  sConfig.EncoderMode = TIM_ENCODERMODE_TI12;
  sConfig.IC1Polarity = TIM_ICPOLARITY_RISING;
  sConfig.IC1Selection = TIM_ICSELECTION_DIRECTTI;
  sConfig.IC1Prescaler = TIM_ICPSC_DIV1;
  sConfig.IC1Filter = 0;
  sConfig.IC2Polarity = TIM_ICPOLARITY_RISING;
  sConfig.IC2Selection = TIM_ICSELECTION_DIRECTTI;
  sConfig.IC2Prescaler = TIM_ICPSC_DIV1;
  sConfig.IC2Filter = 0;
  if (HAL_TIM_Encoder_Init(&htim8, &sConfig) != HAL_OK)
  {
    Error_Handler();
  }
  sMasterConfig.MasterOutputTrigger = TIM_TRGO_RESET;
  sMasterConfig.MasterOutputTrigger2 = TIM_TRGO2_RESET;
  sMasterConfig.MasterSlaveMode = TIM_MASTERSLAVEMODE_DISABLE;
  if (HAL_TIMEx_MasterConfigSynchronization(&htim8, &sMasterConfig) != HAL_OK)
  {
    Error_Handler();
  }

}

static void MX_GPIO_Init(void)
{
  GPIO_InitTypeDef GPIO_InitStruct = {0};

  /* GPIO Ports Clock Enable */
  __HAL_RCC_GPIOC_CLK_ENABLE();
  __HAL_RCC_GPIOA_CLK_ENABLE();
  __HAL_RCC_GPIOB_CLK_ENABLE();
  __HAL_RCC_GPIOD_CLK_ENABLE();

  /*Configure GPIO pin Output Level */
  HAL_GPIO_WritePin(GPIOC, M3_DIR_Pin|M1_LEFT_LED_CTRL_Pin|M1_RIGHT_LED_CTRL_Pin|STATUS_LED_Pin
                          |CAN_ACTIVITY_LED_Pin, GPIO_PIN_RESET);

  /*Configure GPIO pin Output Level */
  HAL_GPIO_WritePin(GPIOA, M2_LEFT_LED_CTRL_Pin|M2_RIGHT_LED_CTRL_Pin, GPIO_PIN_RESET);

  /*Configure GPIO pin Output Level */
  HAL_GPIO_WritePin(GPIOB, M1_DIR_Pin|M2_DIR_Pin|M1_SLEEP_Pin|M3_SLEEP_Pin
                          |M2_SLEEP_Pin|M3_LEFT_LED_CTRL_Pin, GPIO_PIN_RESET);

  /*Configure GPIO pin Output Level */
  HAL_GPIO_WritePin(M3_RIGHT_LED_CTRL_GPIO_Port, M3_RIGHT_LED_CTRL_Pin, GPIO_PIN_RESET);

  /*Configure GPIO pins : NODE_ID0_Pin M1_FAULT_Pin M2_FAULT_Pin */
  GPIO_InitStruct.Pin = NODE_ID0_Pin|M1_FAULT_Pin|M2_FAULT_Pin;
  GPIO_InitStruct.Mode = GPIO_MODE_INPUT;
  GPIO_InitStruct.Pull = GPIO_NOPULL;
  HAL_GPIO_Init(GPIOC, &GPIO_InitStruct);

  /*Configure GPIO pins : M3_DIR_Pin M1_LEFT_LED_CTRL_Pin M1_RIGHT_LED_CTRL_Pin STATUS_LED_Pin
                           CAN_ACTIVITY_LED_Pin */
  GPIO_InitStruct.Pin = M3_DIR_Pin|M1_LEFT_LED_CTRL_Pin|M1_RIGHT_LED_CTRL_Pin|STATUS_LED_Pin
                          |CAN_ACTIVITY_LED_Pin;
  GPIO_InitStruct.Mode = GPIO_MODE_OUTPUT_PP;
  GPIO_InitStruct.Pull = GPIO_NOPULL;
  GPIO_InitStruct.Speed = GPIO_SPEED_FREQ_LOW;
  HAL_GPIO_Init(GPIOC, &GPIO_InitStruct);

  /*Configure GPIO pins : M2_LEFT_LED_CTRL_Pin M2_RIGHT_LED_CTRL_Pin */
  GPIO_InitStruct.Pin = M2_LEFT_LED_CTRL_Pin|M2_RIGHT_LED_CTRL_Pin;
  GPIO_InitStruct.Mode = GPIO_MODE_OUTPUT_PP;
  GPIO_InitStruct.Pull = GPIO_NOPULL;
  GPIO_InitStruct.Speed = GPIO_SPEED_FREQ_LOW;
  HAL_GPIO_Init(GPIOA, &GPIO_InitStruct);

  /*Configure GPIO pins : M1_DIR_Pin M2_DIR_Pin M1_SLEEP_Pin M3_SLEEP_Pin
                           M2_SLEEP_Pin M3_LEFT_LED_CTRL_Pin */
  GPIO_InitStruct.Pin = M1_DIR_Pin|M2_DIR_Pin|M1_SLEEP_Pin|M3_SLEEP_Pin
                          |M2_SLEEP_Pin|M3_LEFT_LED_CTRL_Pin;
  GPIO_InitStruct.Mode = GPIO_MODE_OUTPUT_PP;
  GPIO_InitStruct.Pull = GPIO_NOPULL;
  GPIO_InitStruct.Speed = GPIO_SPEED_FREQ_LOW;
  HAL_GPIO_Init(GPIOB, &GPIO_InitStruct);

  /*Configure GPIO pins : M3_FAULT_Pin NODE_ID1_Pin NODE_ID2_Pin */
  GPIO_InitStruct.Pin = M3_FAULT_Pin|NODE_ID1_Pin|NODE_ID2_Pin;
  GPIO_InitStruct.Mode = GPIO_MODE_INPUT;
  GPIO_InitStruct.Pull = GPIO_NOPULL;
  HAL_GPIO_Init(GPIOB, &GPIO_InitStruct);

  /*Configure GPIO pin : M3_RIGHT_LED_CTRL_Pin */
  GPIO_InitStruct.Pin = M3_RIGHT_LED_CTRL_Pin;
  GPIO_InitStruct.Mode = GPIO_MODE_OUTPUT_PP;
  GPIO_InitStruct.Pull = GPIO_NOPULL;
  GPIO_InitStruct.Speed = GPIO_SPEED_FREQ_LOW;
  HAL_GPIO_Init(M3_RIGHT_LED_CTRL_GPIO_Port, &GPIO_InitStruct);

}

void Error_Handler(void)
{
  /* USER CODE BEGIN Error_Handler_Debug */
  App_EmergencySleep();
  /* User can add his own implementation to report the HAL error return state */
  __disable_irq();
  while (1)
  {
  }
  /* USER CODE END Error_Handler_Debug */
}
